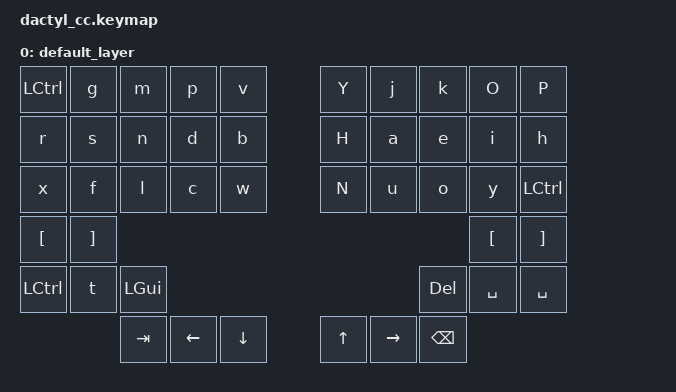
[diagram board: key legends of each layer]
#include <behaviors.dtsi>
#include <dt-bindings/zmk/keys.h>
#include <dt-bindings/zmk/bt.h>
#include <dt-bindings/zmk/outputs.h>

#define DEFAULT 0
#define MAC     1
#define LOWER   2
#define RAISE   3
#define ADJUST  4

#define HYPER(key) LS(LC(LA(LG(key))))
#define MEH(key)   LS(LC(LA(key)))

&sl {
    release-after-ms = <5000>;
};

&kscan0 {
    debounce-press-ms = <30>;
    debounce-release-ms = <30>;
};

/ {
    keymap {
        compatible = "zmk,keymap";

        default_layer {
            bindings = <
    &kp LCTRL     &kp g    &kp m     &kp p     &kp v                              &kp Y     &kp j     &kp k     &kp O     &kp P    
    &kp r     &kp s    &kp n     &kp d     &kp b                              &kp H     &kp a     &kp e     &kp i     &kp h
    &kp x     &kp f    &kp l     &kp c     &kp w                              &kp N     &kp u     &kp o     &kp y     &kp LCTRL
              &kp LBKT  &kp RBKT                                                                  &kp LBKT  &kp RBKT
                                &kp LCTRL &kp t     &kp LGUI    &kp DEL   &kp SPACE   &kp SPACE
                                &kp TAB &kp LEFT_ARROW  &kp DOWN_ARROW    &kp UP_ARROW   &kp RIGHT_ARROW   &kp BACKSPACE
            >;
        };
    };
};
